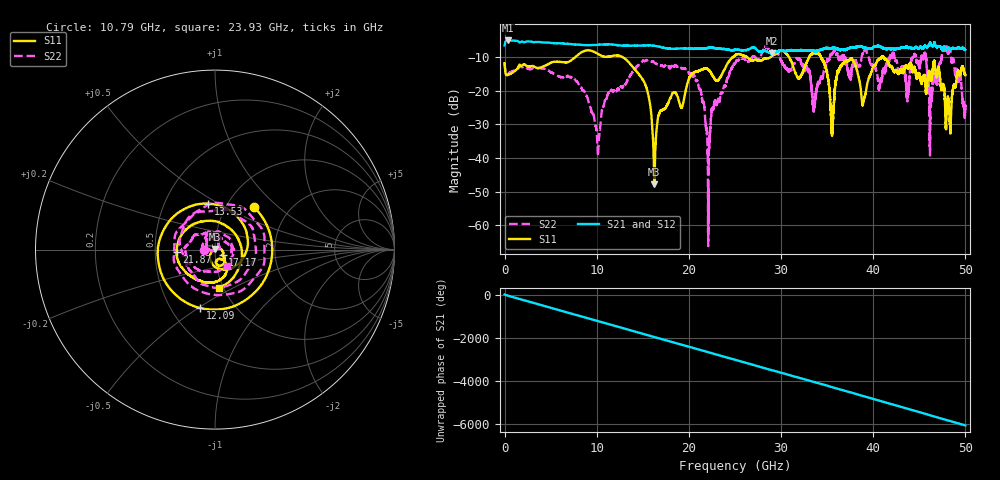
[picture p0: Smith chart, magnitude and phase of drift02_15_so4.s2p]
!Created with skrf (http://scikit-rf.org).
# Hz S RI R 50.0
!freq ReS11 ImS11 ReS21 ImS21 ReS12 ImS12 ReS22 ImS22
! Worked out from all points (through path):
!   10001 points, 300 kHz to 50 GHz, reference 50 ohm
!   highest |S21| = -5.04 dB at 325.3 MHz (marker M1); lowest = -8.9 dB at 28.98 GHz (marker M2)
!   group delay of S21, straight-line fit = 336 ps
!   lowest |S11| = -47.8 dB at 16.25 GHz (marker M3), VSWR 1.01, Z = 49.8 + j0.358 ohm
!   |S11| at or under -10 dB: start of sweep to 7.667 GHz; 12.81 GHz to 24.78 GHz (11.97 GHz wide, 63.7 % of centre); 41.12 GHz to end of sweep (the widest 3 of 14)
!   |S22| runs from -66.2 to -6.8 dB; largest |S21 - S12| = 0.031
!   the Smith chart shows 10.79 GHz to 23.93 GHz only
!   S11 on the Smith chart (normalised r, x): 10.79 GHz: 1.34, +0.71; 12.09 GHz: 0.69, -0.51; 13.53 GHz: 0.82, +0.45; 17.17 GHz: 1.09, -0.07; 21.87 GHz: 0.65, -0.02; 23.93 GHz: 0.95, -0.43
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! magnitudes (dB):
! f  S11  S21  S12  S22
! 300 kHz  -11.8  -6.5  -6.5  -11.7
! 325.3 MHz  -15.3  -5.0  -5.0  -15.1
! 8.335 GHz  -8.6  -6.4  -6.4  -19.1
! 10.11 GHz  -9.0  -6.3  -6.3  -38.1
! 10.79 GHz  -9.9  -6.2  -6.2  -24.0
! 12.09 GHz  -9.5  -6.4  -6.4  -20.2
! 13.53 GHz  -11.7  -6.6  -6.6  -16.0
! 16.25 GHz  -47.8  -6.6  -6.6  -11.6
! 16.67 GHz  -27.6  -6.8  -6.8  -12.2
! 17.17 GHz  -25.7  -7.1  -7.1  -12.7
! 20.73 GHz  -14.3  -7.5  -7.5  -16.9
! 21.87 GHz  -13.4  -7.3  -7.3  -31.0
! 23.93 GHz  -13.3  -7.6  -7.6  -18.6
! 25 GHz  -9.5  -7.9  -7.9  -11.9
! 28.98 GHz  -9.8  -8.9  -8.9  -8.1
! 33.34 GHz  -9.1  -8.0  -8.0  -20.0
! 35.53 GHz  -33.4  -7.4  -7.3  -9.1
! 36.78 GHz  -11.9  -7.9  -8.0  -9.4
! 41.67 GHz  -12.0  -7.4  -7.5  -11.7
! 46.25 GHz  -16.9  -6.1  -6.1  -23.4
! 48.13 GHz  -22.2  -7.1  -7.2  -8.9
! 50 GHz  -15.4  -7.9  -7.9  -25.3
